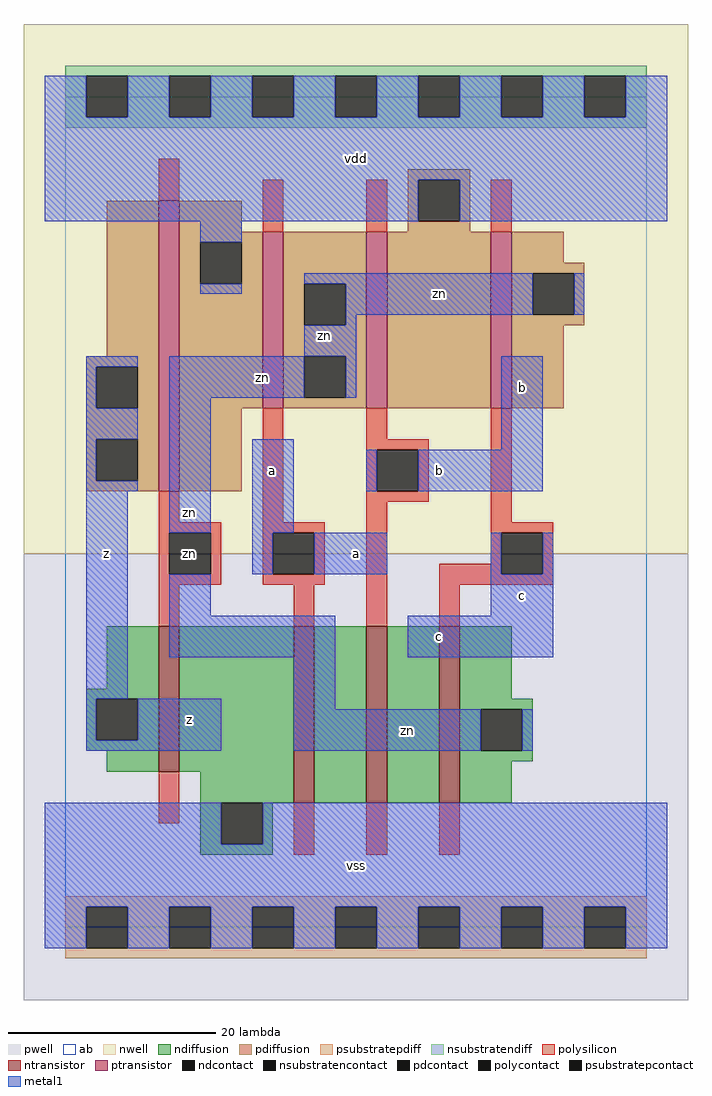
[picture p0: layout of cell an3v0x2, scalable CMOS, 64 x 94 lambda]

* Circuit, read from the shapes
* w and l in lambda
.subckt an3v0x2 a b c vdd vss z zn
M1 vss zn z vss nfet w=14 l=2
M2 n1 a vss vss nfet w=17 l=2
M3 n2 b n1 vss nfet w=17 l=2
M4 zn c n2 vss nfet w=17 l=2
M5 vdd zn z vdd pfet w=28 l=2
M6 zn a vdd vdd pfet w=17 l=2
M7 vdd b zn vdd pfet w=17 l=2
M8 zn c vdd vdd pfet w=17 l=2
.ends

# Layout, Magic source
magic
tech scmos
<< ab >>
rect 0 0 56 80
<< pwell >>
rect -4 -7 60 36
<< nwell >>
rect -4 36 60 87
<< polysilicon >>
rect 9 70 11 74
rect 19 67 21 72
rect 29 67 31 72
rect 41 67 43 72
rect 9 39 11 42
rect 19 39 21 50
rect 29 47 31 50
rect 29 46 35 47
rect 29 42 30 46
rect 34 42 35 46
rect 29 41 35 42
rect 9 38 15 39
rect 9 34 10 38
rect 14 34 15 38
rect 9 33 15 34
rect 19 38 25 39
rect 19 34 20 38
rect 24 34 25 38
rect 19 33 25 34
rect 9 29 11 33
rect 22 29 24 33
rect 29 29 31 41
rect 41 39 43 50
rect 41 38 47 39
rect 41 35 42 38
rect 36 34 42 35
rect 46 34 47 38
rect 36 33 47 34
rect 36 29 38 33
rect 9 10 11 15
rect 22 7 24 12
rect 29 7 31 12
rect 36 7 38 12
<< ndiffusion >>
rect 4 23 9 29
rect 2 22 9 23
rect 2 18 3 22
rect 7 18 9 22
rect 2 17 9 18
rect 4 15 9 17
rect 11 15 22 29
rect 13 12 22 15
rect 24 12 29 29
rect 31 12 36 29
rect 38 22 43 29
rect 38 21 45 22
rect 38 17 40 21
rect 44 17 45 21
rect 38 16 45 17
rect 38 12 43 16
rect 13 8 15 12
rect 19 8 20 12
rect 13 7 20 8
<< pdiffusion >>
rect 33 72 39 73
rect 4 55 9 70
rect 2 54 9 55
rect 2 50 3 54
rect 7 50 9 54
rect 2 47 9 50
rect 2 43 3 47
rect 7 43 9 47
rect 2 42 9 43
rect 11 67 17 70
rect 33 68 34 72
rect 38 68 39 72
rect 33 67 39 68
rect 11 66 19 67
rect 11 62 13 66
rect 17 62 19 66
rect 11 50 19 62
rect 21 62 29 67
rect 21 58 23 62
rect 27 58 29 62
rect 21 55 29 58
rect 21 51 23 55
rect 27 51 29 55
rect 21 50 29 51
rect 31 50 41 67
rect 43 64 48 67
rect 43 63 50 64
rect 43 59 45 63
rect 49 59 50 63
rect 43 58 50 59
rect 43 50 48 58
rect 11 42 17 50
<< metal1 >>
rect -2 78 2 82
rect 6 78 10 82
rect 14 78 18 82
rect 22 78 26 82
rect 30 78 34 82
rect 38 78 42 82
rect 46 78 50 82
rect 54 78 58 82
rect -2 72 58 78
rect -2 68 34 72
rect 38 68 58 72
rect 13 66 17 68
rect 13 61 17 62
rect 23 62 45 63
rect 27 59 45 62
rect 49 59 50 63
rect 27 58 28 59
rect 23 55 28 58
rect 2 54 7 55
rect 2 50 3 54
rect 2 47 7 50
rect 2 43 3 47
rect 2 42 7 43
rect 10 51 23 55
rect 27 51 28 55
rect 2 22 6 42
rect 10 38 14 51
rect 18 38 22 47
rect 42 46 46 55
rect 29 42 30 46
rect 34 42 46 46
rect 18 34 20 38
rect 24 34 31 38
rect 41 34 42 38
rect 46 34 47 38
rect 10 30 14 34
rect 41 30 47 34
rect 10 26 26 30
rect 33 26 47 30
rect 2 18 3 22
rect 7 18 15 22
rect 2 17 15 18
rect 22 21 26 26
rect 22 17 40 21
rect 44 17 45 21
rect -2 8 15 12
rect 19 8 58 12
rect -2 2 58 8
rect -2 -2 2 2
rect 6 -2 10 2
rect 14 -2 18 2
rect 22 -2 26 2
rect 30 -2 34 2
rect 38 -2 42 2
rect 46 -2 50 2
rect 54 -2 58 2
<< ntransistor >>
rect 9 15 11 29
rect 22 12 24 29
rect 29 12 31 29
rect 36 12 38 29
<< ptransistor >>
rect 9 42 11 70
rect 19 50 21 67
rect 29 50 31 67
rect 41 50 43 67
<< polycontact >>
rect 30 42 34 46
rect 10 34 14 38
rect 20 34 24 38
rect 42 34 46 38
<< ndcontact >>
rect 3 18 7 22
rect 40 17 44 21
rect 15 8 19 12
<< pdcontact >>
rect 3 50 7 54
rect 3 43 7 47
rect 34 68 38 72
rect 13 62 17 66
rect 23 58 27 62
rect 23 51 27 55
rect 45 59 49 63
<< psubstratepcontact >>
rect 2 -2 6 2
rect 10 -2 14 2
rect 18 -2 22 2
rect 26 -2 30 2
rect 34 -2 38 2
rect 42 -2 46 2
rect 50 -2 54 2
<< nsubstratencontact >>
rect 2 78 6 82
rect 10 78 14 82
rect 18 78 22 82
rect 26 78 30 82
rect 34 78 38 82
rect 42 78 46 82
rect 50 78 54 82
<< psubstratepdiff >>
rect 0 2 56 3
rect 0 -2 2 2
rect 6 -2 10 2
rect 14 -2 18 2
rect 22 -2 26 2
rect 30 -2 34 2
rect 38 -2 42 2
rect 46 -2 50 2
rect 54 -2 56 2
rect 0 -3 56 -2
<< nsubstratendiff >>
rect 0 82 56 83
rect 0 78 2 82
rect 6 78 10 82
rect 14 78 18 82
rect 22 78 26 82
rect 30 78 34 82
rect 38 78 42 82
rect 46 78 50 82
rect 54 78 56 82
rect 0 77 56 78
<< labels >>
rlabel polycontact 12 36 12 36 6 zn
rlabel metal1 4 36 4 36 6 z
rlabel metal1 12 20 12 20 6 z
rlabel metal1 20 44 20 44 6 a
rlabel metal1 12 40 12 40 6 zn
rlabel metal1 28 6 28 6 6 vss
rlabel metal1 28 36 28 36 6 a
rlabel metal1 36 28 36 28 6 c
rlabel metal1 36 44 36 44 6 b
rlabel metal1 19 53 19 53 6 zn
rlabel metal1 25 57 25 57 6 zn
rlabel metal1 28 74 28 74 6 vdd
rlabel metal1 33 19 33 19 6 zn
rlabel metal1 44 32 44 32 6 c
rlabel metal1 44 52 44 52 6 b
rlabel metal1 36 61 36 61 6 zn
<< end >>
